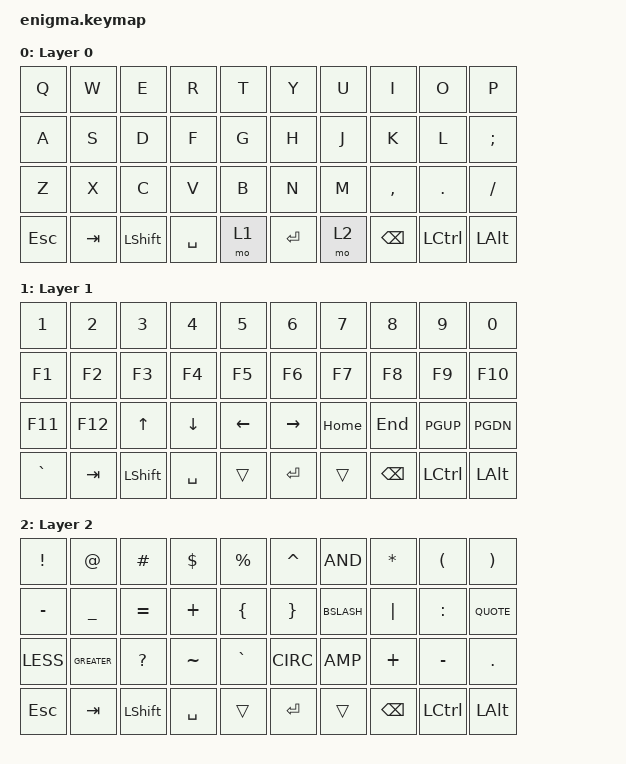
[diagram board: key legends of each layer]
#include <behaviors.dtsi>
#include <dt-bindings/zmk/keys.h>

/ {
    keymap {
        compatible = "zmk,keymap";
        
        default_layer {
            label = "Layer 0";
            bindings = <
                &kp Q     &kp W     &kp E     &kp R     &kp T     &kp Y     &kp U     &kp I     &kp O     &kp P
                &kp A     &kp S     &kp D     &kp F     &kp G     &kp H     &kp J     &kp K     &kp L     &kp SEMI
                &kp Z     &kp X     &kp C     &kp V     &kp B     &kp N     &kp M     &kp COMMA &kp DOT   &kp SLASH
                &kp ESC   &kp TAB   &kp LSHIFT &kp SPACE &mo 1     &kp ENTER &mo 2     &kp BKSP  &kp LCTRL &kp LALT
            >;
        };

        layer_1 {
            label = "Layer 1";
            bindings = <
                &kp N1    &kp N2    &kp N3    &kp N4    &kp N5    &kp N6    &kp N7    &kp N8    &kp N9    &kp N0
                &kp F1    &kp F2    &kp F3    &kp F4    &kp F5    &kp F6    &kp F7    &kp F8    &kp F9    &kp F10
                &kp F11   &kp F12   &kp UP    &kp DOWN  &kp LEFT  &kp RIGHT &kp HOME  &kp END   &kp PGUP  &kp PGDN
                &kp GRAVE &kp TAB   &kp LSHIFT &kp SPACE &trans    &kp ENTER &trans    &kp BKSP  &kp LCTRL &kp LALT
            >;
        };

        layer_2 {
            label = "Layer 2";
            bindings = <
                &kp EXCL  &kp AT    &kp HASH  &kp DOLLAR &kp PERCENT &kp CARET &kp AND   &kp STAR  &kp LPAR  &kp RPAR
                &kp MINUS &kp UNDER  &kp EQUAL &kp PLUS   &kp LBRC    &kp RBRC  &kp BSLASH &kp PIPE  &kp COLON &kp QUOTE
                &kp LESS  &kp GREATER &kp QMARK &kp TILDE &kp GRAVE   &kp CIRC  &kp AMP   &kp PLUS   &kp MINUS &kp DOT
                &kp ESC   &kp TAB   &kp LSHIFT &kp SPACE &trans      &kp ENTER &trans    &kp BKSP  &kp LCTRL &kp LALT
            >;
        };
    };
};
